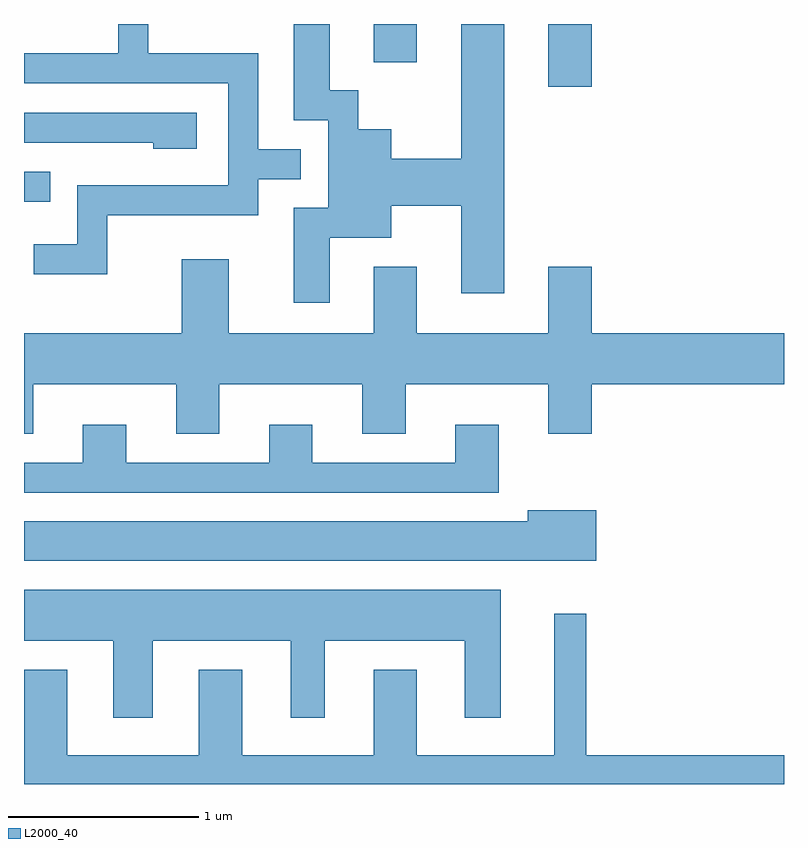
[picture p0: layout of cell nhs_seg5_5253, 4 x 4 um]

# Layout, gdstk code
import gdstk
lib = gdstk.Library(unit=1e-6, precision=1e-09)
def R(c, l, rs):  # rectangles x0, y0, x1, y1
    for r in rs: c.add(gdstk.rectangle(r[:2], r[2:], *l))
def P(c, l, *ps):  # polygons
    for p in ps: c.add(gdstk.Polygon(p, *l))
L2000_40 = (2000, 40)

nhs_seg5_5253 = lib.new_cell('nhs_seg5_5253')
R(nhs_seg5_5253, L2000_40, [(341.611,1411.136,341.748,1411.294), (344.371,1411.741,344.599,1412.072), (343.451,1411.871,343.679,1412.072)])
P(nhs_seg5_5253, L2000_40, [(343.219,1410.946),(343.544,1410.946),(343.544,1411.116),(343.911,1411.116),(343.911,1410.656),(344.139,1410.656),(344.139,1412.072),(343.911,1412.072),(343.911,1411.364),(343.544,1411.364),(343.544,1411.519),(343.369,1411.519),(343.369,1411.724),(343.219,1411.724),(343.219,1412.072),(343.031,1412.072),(343.031,1411.566),(343.211,1411.566),(343.211,1411.104),(343.031,1411.104),(343.031,1410.606),(343.219,1410.606)],
  [(342.049,1411.066),(342.844,1411.066),(342.844,1411.256),(343.068,1411.256),(343.068,1411.414),(342.844,1411.414),(342.844,1411.919),(342.264,1411.919),(342.264,1412.072),(342.106,1412.072),(342.106,1411.919),(341.611,1411.919),(341.611,1411.761),(342.686,1411.761),(342.686,1411.224),(341.891,1411.224),(341.891,1410.914),(341.663,1410.914),(341.663,1410.756),(342.049,1410.756)],
  [(342.519,1411.604),(341.611,1411.604),(341.611,1411.446),(342.291,1411.446),(342.291,1411.416),(342.519,1411.416)],
  [(341.659,1410.176),(342.411,1410.176),(342.411,1409.916),(342.639,1409.916),(342.639,1410.176),(343.391,1410.176),(343.391,1409.916),(343.619,1409.916),(343.619,1410.176),(344.371,1410.176),(344.371,1409.916),(344.599,1409.916),(344.599,1410.176),(345.611,1410.176),(345.611,1410.444),(344.599,1410.444),(344.599,1410.794),(344.371,1410.794),(344.371,1410.444),(343.679,1410.444),(343.679,1410.794),(343.451,1410.794),(343.451,1410.444),(342.689,1410.444),(342.689,1410.834),(342.441,1410.834),(342.441,1410.444),(341.611,1410.444),(341.611,1409.916),(341.659,1409.916)],
  [(344.109,1409.964),(343.881,1409.964),(343.881,1409.764),(343.129,1409.764),(343.129,1409.964),(342.901,1409.964),(342.901,1409.764),(342.149,1409.764),(342.149,1409.964),(341.921,1409.964),(341.921,1409.764),(341.611,1409.764),(341.611,1409.606),(344.109,1409.606)],
  [(344.624,1409.514),(344.261,1409.514),(344.261,1409.454),(341.611,1409.454),(341.611,1409.246),(344.624,1409.246)],
  [(342.289,1408.826),(343.016,1408.826),(343.016,1408.421),(343.194,1408.421),(343.194,1408.826),(343.931,1408.826),(343.931,1408.421),(344.119,1408.421),(344.119,1409.094),(341.611,1409.094),(341.611,1408.826),(342.081,1408.826),(342.081,1408.421),(342.289,1408.421)],
  [(344.569,1408.968),(344.401,1408.968),(344.401,1408.224),(343.679,1408.224),(343.679,1408.674),(343.451,1408.674),(343.451,1408.224),(342.759,1408.224),(342.759,1408.674),(342.531,1408.674),(342.531,1408.224),(341.839,1408.224),(341.839,1408.674),(341.611,1408.674),(341.611,1408.072),(345.611,1408.072),(345.611,1408.224),(344.569,1408.224)])

lib.write_gds('nhs_seg5_5253.gds')
